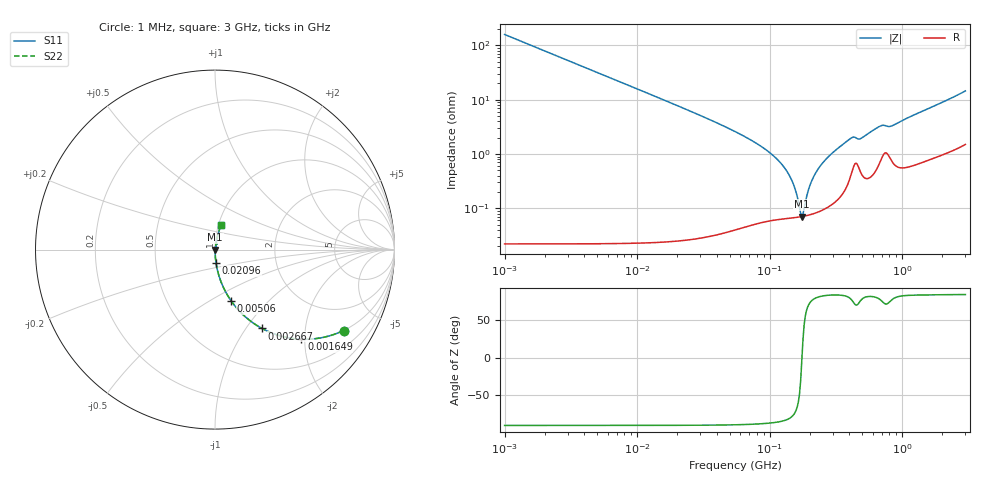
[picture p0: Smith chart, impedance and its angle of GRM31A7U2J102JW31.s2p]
!Murata Part Number: GRM31A7U2J102JW31
!These Parameters are Measured in Series Mode Connection
!Data Generated on Mar 30, 2021
!  o--ll--o
!Port1  Port2
!  o------o
!Operation Temp=25[degC], DC Bias Voltage=0[V]
!Freq. Start=1000[kHz] Stop=3[GHz] 401[Steps]
# Hz S RI R 50
!Freq.(Hz) S11(Real) S11(Imag) S21(Real) S21(Imag) S12(Real) S12(Imag) S22(Real) S22(Imag)
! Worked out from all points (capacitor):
!   401 points, 1 MHz to 3 GHz, reference 50 ohm
!   read as one part in series: C = 1 nF near 1.041 MHz
!   lowest |Z| = 70.9 mohm at 174.9 MHz (marker M1)
!   series resonance near 175.4 MHz, so ESL is about 820 pH
!   S11 on the Smith chart (normalised r, x): 1 MHz: 1.00, -3.18; 1.649 MHz: 1.00, -1.93; 2.667 MHz: 1.00, -1.19; 5.06 MHz: 1.00, -0.63; 20.96 MHz: 1.00, -0.15; 3 GHz: 1.03, +0.29
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1000000  0.7162 -0.4507  0.2838 0.4507  0.2838 0.4507  0.7162 -0.4507
1649378  0.4813 -0.4995  0.5187 0.4995  0.5187 0.4995  0.4813 -0.4995
2666535  0.262 -0.4395  0.738 0.4395  0.738 0.4395  0.262 -0.4395
3823119  0.1473 -0.3541  0.8527 0.3541  0.8527 0.3541  0.1473 -0.3541
5059610  0.0898 -0.2855  0.9102 0.2855  0.9102 0.2855  0.0898 -0.2855
1.461624e7  0.0117 -0.1066  0.9883 0.1066  0.9883 0.1066  0.0117 -0.1066
2.095589e7  0.00579 -0.0742  0.9942 0.0742  0.9942 0.0742  0.00579 -0.0742
5.477226e7  0.00107 -0.026  0.9989 0.026  0.9989 0.026  0.00107 -0.026
9.034013e7  0.000722 -0.0128  0.9993 0.0128  0.9993 0.0128  0.000722 -0.0128
1.244416e8  0.000675 -0.0063  0.9993 0.0063  0.9993 0.0063  0.000675 -0.0063
1.49005e8  0.000677 -0.00296  0.9993 0.00296  0.9993 0.00296  0.000677 -0.00296
1.680187e8  0.000696 -0.000777  0.9993 0.000777  0.9993 0.000777  0.000696 -0.000777
1.748812e8  0.000707 -4.95e-05  0.9993 4.95e-05  0.9993 4.95e-05  0.000707 -4.95e-05
1.820241e8  0.000721 0.00068  0.9993 -0.00068  0.9993 -0.00068  0.000721 0.00068
1.971969e8  0.000758 0.00215  0.9992 -0.00215  0.9992 -0.00215  0.000758 0.00215
2.094008e8  0.000795 0.00327  0.9992 -0.00327  0.9992 -0.00327  0.000795 0.00327
2.609752e8  0.00103 0.00757  0.999 -0.00757  0.999 -0.00757  0.00103 0.00757
3.973271e8  0.00352 0.0181  0.9965 -0.0181  0.9965 -0.0181  0.00352 0.0181
4.853736e8  0.00498 0.0185  0.995 -0.0185  0.995 -0.0185  0.00498 0.0185
6.958997e8  0.00902 0.0318  0.991 -0.0318  0.991 -0.0318  0.00902 0.0318
8.005644e8  0.0097 0.0303  0.9903 -0.0303  0.9903 -0.0303  0.0097 0.0303
3e9  0.0344 0.1375  0.9656 -0.1375  0.9656 -0.1375  0.0344 0.1375
